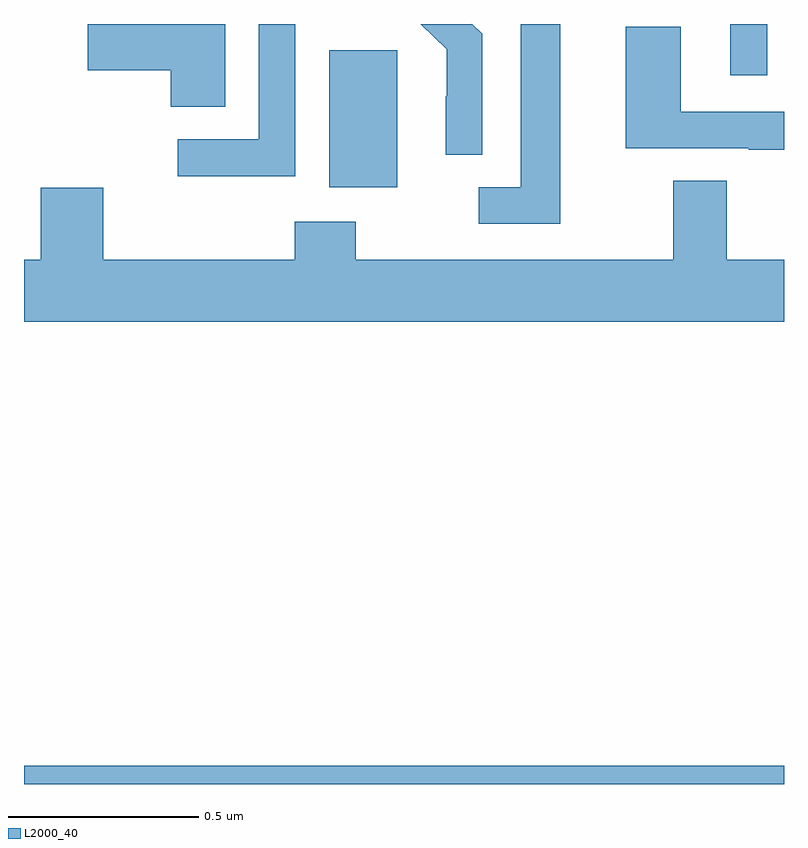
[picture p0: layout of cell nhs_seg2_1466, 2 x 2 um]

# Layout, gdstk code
import gdstk
lib = gdstk.Library(unit=1e-6, precision=1e-09)
def R(c, l, rs):  # rectangles x0, y0, x1, y1
    for r in rs: c.add(gdstk.rectangle(r[:2], r[2:], *l))
def P(c, l, *ps):  # polygons
    for p in ps: c.add(gdstk.Polygon(p, *l))
L2000_40 = (2000, 40)

nhs_seg2_1466 = lib.new_cell('nhs_seg2_1466')
R(nhs_seg2_1466, L2000_40, [(129,599.8,131,599.848), (129.803,601.37,129.982,601.731), (130.859,601.665,130.956,601.8)])
P(nhs_seg2_1466, L2000_40, [(129.529,601.8),(129.168,601.8),(129.168,601.678),(129.386,601.678),(129.386,601.582),(129.529,601.582)],
  [(130.411,601.8),(130.307,601.8),(130.307,601.371),(130.197,601.371),(130.197,601.275),(130.411,601.275)],
  [(129.714,601.8),(129.618,601.8),(129.618,601.497),(129.405,601.497),(129.405,601.399),(129.714,601.399)],
  [(130.206,601.774),(130.18,601.8),(130.044,601.8),(130.112,601.733),(130.112,601.61),(130.11,601.61),(130.11,601.456),(130.206,601.456)],
  [(131,601.569),(130.728,601.569),(130.728,601.793),(130.583,601.793),(130.583,601.473),(130.907,601.473),(130.907,601.469),(131,601.469)],
  [(131,601.18),(130.849,601.18),(130.849,601.388),(130.709,601.388),(130.709,601.18),(129.873,601.18),(129.873,601.279),(129.713,601.279),(129.713,601.18),(129.208,601.18),(129.208,601.369),(129.044,601.369),(129.044,601.18),(129,601.18),(129,601.016),(131,601.016)])

lib.write_gds('nhs_seg2_1466.gds')
